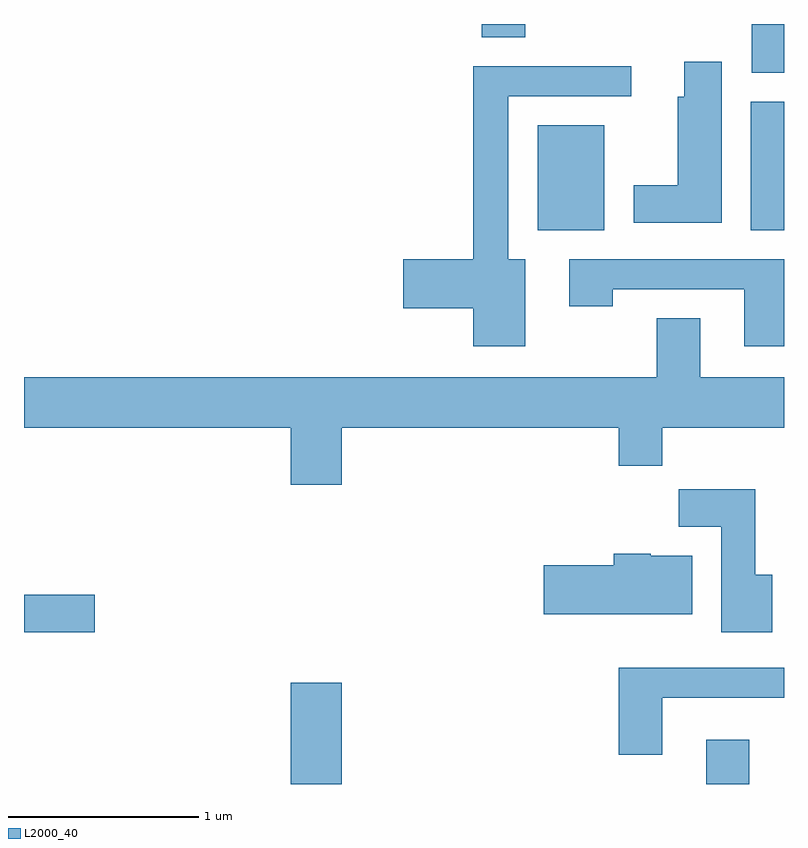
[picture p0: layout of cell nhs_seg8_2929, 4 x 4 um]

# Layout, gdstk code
import gdstk
lib = gdstk.Library(unit=1e-6, precision=1e-09)
def R(c, l, rs):  # rectangles x0, y0, x1, y1
    for r in rs: c.add(gdstk.rectangle(r[:2], r[2:], *l))
def P(c, l, *ps):  # polygons
    for p in ps: c.add(gdstk.Polygon(p, *l))
L2000_40 = (2000, 40)

nhs_seg8_2929 = lib.new_cell('nhs_seg8_2929')
R(nhs_seg8_2929, L2000_40, [(275.016,1812.342,275.284,1812.874), (277.201,1812.342,277.429,1812.574), (273.611,1813.141,273.984,1813.339), (276.316,1815.256,276.664,1815.809), (277.436,1815.256,277.611,1815.934), (277.441,1816.086,277.611,1816.342), (276.021,1816.271,276.249,1816.342)])
P(nhs_seg8_2929, L2000_40, [(277.284,1816.144),(277.086,1816.144),(277.086,1815.959),(277.051,1815.959),(277.051,1815.494),(276.821,1815.494),(276.821,1815.296),(277.284,1815.296)],
  [(276.249,1815.104),(276.159,1815.104),(276.159,1815.961),(276.808,1815.961),(276.808,1816.119),(275.976,1816.119),(275.976,1815.104),(275.606,1815.104),(275.606,1814.846),(275.976,1814.846),(275.976,1814.646),(276.249,1814.646)],
  [(277.611,1815.104),(276.481,1815.104),(276.481,1814.856),(276.709,1814.856),(276.709,1814.946),(277.401,1814.946),(277.401,1814.646),(277.611,1814.646)],
  [(275.284,1814.216),(276.741,1814.216),(276.741,1814.016),(276.969,1814.016),(276.969,1814.216),(277.611,1814.216),(277.611,1814.484),(277.169,1814.484),(277.169,1814.794),(276.941,1814.794),(276.941,1814.484),(273.611,1814.484),(273.611,1814.216),(275.016,1814.216),(275.016,1813.916),(275.284,1813.916)],
  [(277.549,1813.444),(277.459,1813.444),(277.459,1813.894),(277.056,1813.894),(277.056,1813.696),(277.281,1813.696),(277.281,1813.141),(277.549,1813.141)],
  [(277.129,1813.544),(276.91,1813.544),(276.91,1813.554),(276.716,1813.554),(276.716,1813.494),(276.346,1813.494),(276.346,1813.236),(277.129,1813.236)],
  [(276.969,1812.796),(277.611,1812.796),(277.611,1812.954),(276.741,1812.954),(276.741,1812.496),(276.969,1812.496)])

lib.write_gds('nhs_seg8_2929.gds')
